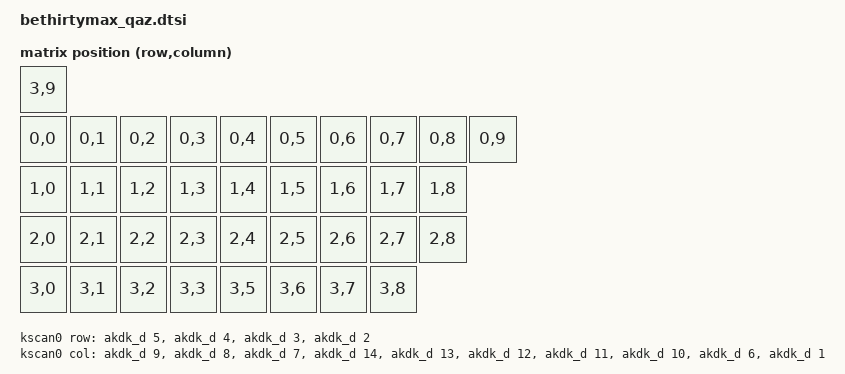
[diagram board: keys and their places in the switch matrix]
#include <dt-bindings/zmk/matrix_transform.h>
#include "bethirtymax_qaz-layouts.dtsi"

/ {
    chosen {
        zmk,kscan = &kscan0;
        zmk,physical-layout = &physical_layout0;
    };

    kscan0: kscan {
        compatible = "zmk,kscan-gpio-matrix";
        wakeup-source;
        diode-direction = "col2row";
        /* J1(20 ピン)の番号 = acdb の D 番号。回路図 QAZ.kicad_sch の J1:
             1 COL9, 2 ROW3, 3 ROW2, 4 ROW1, 5 ROW0, 6 COL8, 7 COL2, 8 COL1,
             9 COL0, 10 COL7, 11 COL6, 12 COL5, 13 COL4, 14 COL3,
             15〜18 空き, 19 GND, 20 Bat+。
           ダイオードはスイッチ側がアノード、ROW 側がカソード(col2row)。 */
        row-gpios = <&akdk_d 5 (GPIO_ACTIVE_HIGH | GPIO_PULL_DOWN)>,  /* ROW0 */
            <&akdk_d 4 (GPIO_ACTIVE_HIGH | GPIO_PULL_DOWN)>,  /* ROW1 */
            <&akdk_d 3 (GPIO_ACTIVE_HIGH | GPIO_PULL_DOWN)>,  /* ROW2 */
            <&akdk_d 2 (GPIO_ACTIVE_HIGH | GPIO_PULL_DOWN)>;  /* ROW3 */
        col-gpios = <&akdk_d 9 (GPIO_ACTIVE_HIGH)>,   /* COL0 */
            <&akdk_d 8 (GPIO_ACTIVE_HIGH)>,   /* COL1 */
            <&akdk_d 7 (GPIO_ACTIVE_HIGH)>,   /* COL2 */
            <&akdk_d 14 (GPIO_ACTIVE_HIGH)>,  /* COL3 */
            <&akdk_d 13 (GPIO_ACTIVE_HIGH)>,  /* COL4 */
            <&akdk_d 12 (GPIO_ACTIVE_HIGH)>,  /* COL5 */
            <&akdk_d 11 (GPIO_ACTIVE_HIGH)>,  /* COL6 */
            <&akdk_d 10 (GPIO_ACTIVE_HIGH)>,  /* COL7 */
            <&akdk_d 6 (GPIO_ACTIVE_HIGH)>,   /* COL8 */
            <&akdk_d 1 (GPIO_ACTIVE_HIGH)>;   /* COL9 */
    };

    /* 37 キー。先頭が一番上の小さいキー(EX1 = 3,9)、以下は上の行から。
       COL9 は EX1 のほかは 0 行目(MX36)にしか無く、3 行目は COL4 が空き。 */
    default_transform: keymap_transform {
        compatible = "zmk,matrix-transform";
        rows = <4>;
        columns = <10>;
        map = <
            RC(3,9)
            RC(0,0) RC(0,1) RC(0,2) RC(0,3) RC(0,4) RC(0,5) RC(0,6) RC(0,7) RC(0,8) RC(0,9)
            RC(1,0) RC(1,1) RC(1,2) RC(1,3) RC(1,4) RC(1,5) RC(1,6) RC(1,7) RC(1,8)
            RC(2,0) RC(2,1) RC(2,2) RC(2,3) RC(2,4) RC(2,5) RC(2,6) RC(2,7) RC(2,8)
            RC(3,0) RC(3,1) RC(3,2) RC(3,3) RC(3,5) RC(3,6) RC(3,7) RC(3,8)
        >;
    };
};
